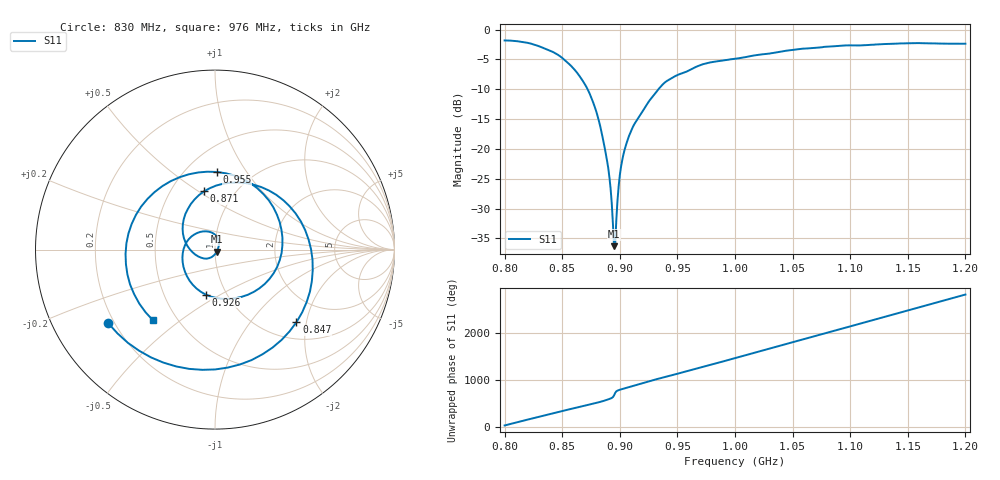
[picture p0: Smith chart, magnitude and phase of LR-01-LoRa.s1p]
! NanoVNA-App
! Date: 2026-05-22 19:06:06
! Start: 800MHz Stop: 1.2GHz Points: 401
! S-Parameter data: F S11
# Hz S RI R 50
!  Frequency  S11_Real  S11_Imag
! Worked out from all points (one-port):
!   401 points, 800 MHz to 1.2 GHz, reference 50 ohm
!   lowest |S11| = -36.3 dB at 895 MHz (marker M1), VSWR 1.03, Z = 51 - j1.19 ohm
!   |S11| at or under -10 dB: 872 MHz to 933.6 MHz (61.54 MHz wide, 6.82 % of centre)
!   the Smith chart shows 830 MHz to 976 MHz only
!   S11 on the Smith chart (normalised r, x): 830 MHz: 0.18, -0.30; 847 MHz: 1.37, -1.75; 871 MHz: 0.72, +0.53; 926 MHz: 0.80, -0.43; 955 MHz: 0.70, +0.74; 976 MHz: 0.37, -0.40
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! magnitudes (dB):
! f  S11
! 800 MHz  -1.8
! 830 MHz  -2.8
! 847 MHz  -4.3
! 850 MHz  -4.8
! 861 MHz  -6.8
! 871 MHz  -9.6
! 879 MHz  -13.4
! 886 MHz  -18.9
! 890 MHz  -23.2
! 892 MHz  -26.6
! 894 MHz  -32.5
! 895 MHz  -36.3
! 896 MHz  -36.0
! 897 MHz  -31.8
! 900 MHz  -24.4
! 903 MHz  -21.1
! 908 MHz  -17.8
! 913 MHz  -15.7
! 926 MHz  -11.8
! 938 MHz  -9.1
! 950 MHz  -7.6
! 955 MHz  -7.3
! 976 MHz  -5.6
! 1 GHz  -4.9
! 1.05 GHz  -3.4
! 1.1 GHz  -2.7
! 1.15 GHz  -2.3
! 1.2 GHz  -2.4
